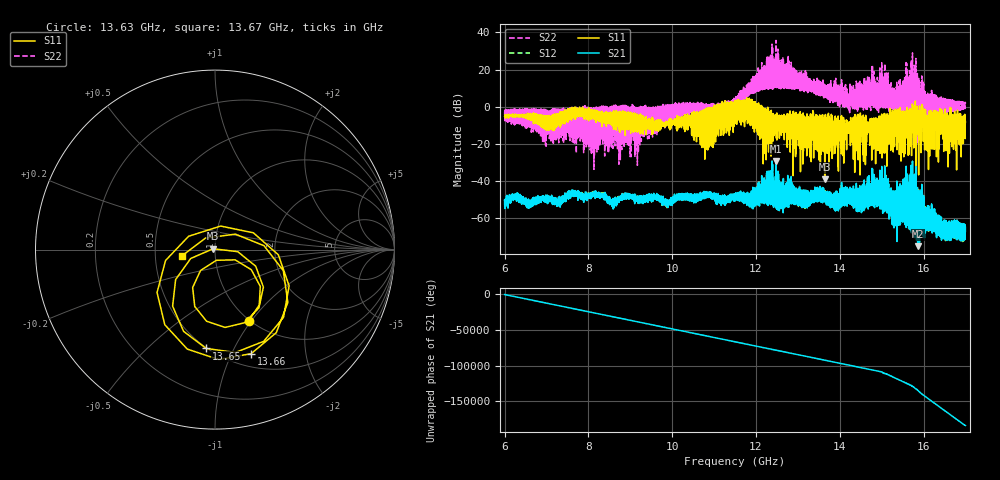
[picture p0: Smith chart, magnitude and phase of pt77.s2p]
#  HZ  S  RI  R  50.00
! Rohde & Schwarz Vector Network Analyzer
! Rohde-Schwarz,ZNA67-2Port,1332450062101215,3.01
! Created: UTC 10/19/2026, 9:32:21 AM
! freq[Hz]  re:S11  im:S11  re:S21  im:S21  re:S12  im:S12  re:S22  im:S22
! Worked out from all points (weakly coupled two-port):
!   11001 points, 6 GHz to 17 GHz, reference 50 ohm
!   highest |S21| = -29.28 dB at 12.48 GHz (marker M1); lowest = -75.1 dB at 15.87 GHz (marker M2)
!   lowest |S11| = -39.1 dB at 13.64 GHz (marker M3), VSWR 1.02, Z = 49 + j0.466 ohm
!   |S11| at or under -10 dB: 14.1262 GHz to 14.1446 GHz (18.4 MHz wide, 0.13 % of centre); 14.19435 GHz to 14.21215 GHz (17.8 MHz wide, 0.125 % of centre); 16.58531 GHz to 16.61127 GHz (25.96 MHz wide, 0.156 % of centre) (the widest 3 of 631)
!   |S22| runs from -33.8 to 35.6 dB; largest |S21 - S12| = 0.0032
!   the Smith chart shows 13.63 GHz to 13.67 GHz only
!   S11 on the Smith chart (normalised r, x): 13.63 GHz: 0.99, -0.97; 13.65 GHz: 0.49, -0.79; 13.66 GHz: 0.64, -1.19; 13.67 GHz: 0.69, -0.05
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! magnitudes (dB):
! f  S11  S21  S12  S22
! 6 GHz  -5.1  -50.2  -50.1  -4.4
! 7.09 GHz  -5.3  -50.0  -49.9  -4.0
! 7.834 GHz  -2.8  -46.4  -46.2  -1.5
! 8.582 GHz  -4.6  -54.5  -54.3  -0.8
! 9.667 GHz  -7.2  -48.7  -48.8  -0.1
! 11.5 GHz  3.1  -47.2  -47.2  2.7
! 11.8 GHz  -9.1  -48.1  -48.2  11.1
! 12.48 GHz  -9.7  -29.3  -29.1  35.6
! 13.33 GHz  -9.5  -48.6  -48.8  10.7
! 13.63 GHz  -7.2  -48.4  -48.4  8.0
! 13.64 GHz  -39.1  -46.8  -46.8  9.0
! 13.65 GHz  -5.1  -47.2  -47.1  9.0
! 13.66 GHz  -4.2  -48.2  -48.2  7.4
! 13.67 GHz  -14.7  -51.7  -52.1  5.5
! 14.21 GHz  -11.6  -46.8  -46.4  3.5
! 14.87 GHz  -13.8  -52.2  -52.2  -1.4
! 15.17 GHz  -10.3  -48.4  -48.5  8.9
! 15.57 GHz  -16.7  -53.7  -53.9  2.1
! 15.87 GHz  -10.3  -75.1  -75.1  -19.4
! 16.1 GHz  -11.4  -58.4  -58.3  1.9
! 16.48 GHz  -24.1  -61.8  -61.9  2.9
! 17 GHz  -8.4  -67.2  -66.8  1.7
